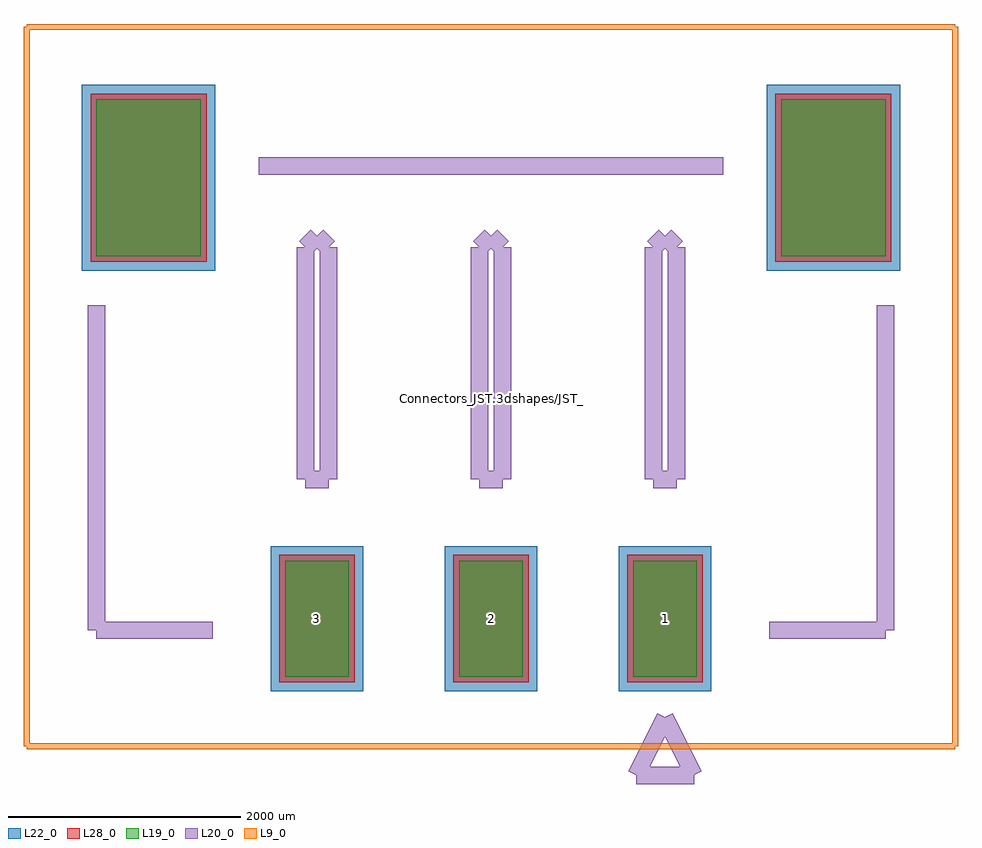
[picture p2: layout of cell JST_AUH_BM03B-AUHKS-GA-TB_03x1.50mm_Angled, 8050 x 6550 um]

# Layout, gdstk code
import gdstk
lib = gdstk.Library(unit=1e-6, precision=1e-09)
def R(c, l, rs):  # rectangles x0, y0, x1, y1
    for r in rs: c.add(gdstk.rectangle(r[:2], r[2:], *l))
def A(c, l, x, y, w, h, nx, ny, dx, dy):  # array of equal rectangles
    R(c, l, [(x+i*dx, y+j*dy, x+i*dx+w, y+j*dy+h) for i in range(nx) for j in range(ny)])
L9_0 = (9, 0)
L19_0 = (19, 0)
L20_0 = (20, 0)
L22_0 = (22, 0)
L28_0 = (28, 0)

jst_auh_bm03b_auhks_ga_t = lib.new_cell('JST_AUH_BM03B-AUHKS-GA-TB_03x1.50mm_Angled')
A(jst_auh_bm03b_auhks_ga_t, L19_0, -1775, -2400, 550, 1000, 3, 1, 1500, 0)
R(jst_auh_bm03b_auhks_ga_t, L19_0, [(-3400,1225,-2500,2575), (2500,1225,3400,2575)])
A(jst_auh_bm03b_auhks_ga_t, L22_0, -1900, -2525, 800, 1250, 3, 1, 1500, 0)
R(jst_auh_bm03b_auhks_ga_t, L22_0, [(-3525,1100,-2375,2700), (2375,1100,3525,2700)])
A(jst_auh_bm03b_auhks_ga_t, L28_0, -1825, -2450, 650, 1100, 3, 1, 1500, 0)
R(jst_auh_bm03b_auhks_ga_t, L28_0, [(-3450,1175,-2450,2625), (2450,1175,3450,2625)])
jst_auh_bm03b_auhks_ga_t.add(gdstk.FlexPath([(1500,1400),(1600,1300)], 149.998, ends="flush", simple_path=True, layer=20, datatype=0))  # L20_0
jst_auh_bm03b_auhks_ga_t.add(gdstk.FlexPath([(1400,1300),(1500,1400)], 149.998, ends="flush", simple_path=True, layer=20, datatype=0))  # L20_0
jst_auh_bm03b_auhks_ga_t.add(gdstk.FlexPath([(1600,-700),(1400,-700)], 149.998, ends="flush", simple_path=True, layer=20, datatype=0))  # L20_0
jst_auh_bm03b_auhks_ga_t.add(gdstk.FlexPath([(1400,-700),(1400,1300)], 149.998, ends="flush", simple_path=True, layer=20, datatype=0))  # L20_0
jst_auh_bm03b_auhks_ga_t.add(gdstk.FlexPath([(1600,1300),(1600,-700)], 149.998, ends="flush", simple_path=True, layer=20, datatype=0))  # L20_0
jst_auh_bm03b_auhks_ga_t.add(gdstk.FlexPath([(0,1400),(100,1300)], 149.998, ends="flush", simple_path=True, layer=20, datatype=0))  # L20_0
jst_auh_bm03b_auhks_ga_t.add(gdstk.FlexPath([(-100,1300),(0,1400)], 149.998, ends="flush", simple_path=True, layer=20, datatype=0))  # L20_0
jst_auh_bm03b_auhks_ga_t.add(gdstk.FlexPath([(100,-700),(-100,-700)], 149.998, ends="flush", simple_path=True, layer=20, datatype=0))  # L20_0
jst_auh_bm03b_auhks_ga_t.add(gdstk.FlexPath([(-100,-700),(-100,1300)], 149.998, ends="flush", simple_path=True, layer=20, datatype=0))  # L20_0
jst_auh_bm03b_auhks_ga_t.add(gdstk.FlexPath([(100,1300),(100,-700)], 149.998, ends="flush", simple_path=True, layer=20, datatype=0))  # L20_0
jst_auh_bm03b_auhks_ga_t.add(gdstk.FlexPath([(-1500,1400),(-1400,1300)], 149.998, ends="flush", simple_path=True, layer=20, datatype=0))  # L20_0
jst_auh_bm03b_auhks_ga_t.add(gdstk.FlexPath([(-1600,1300),(-1500,1400)], 149.998, ends="flush", simple_path=True, layer=20, datatype=0))  # L20_0
jst_auh_bm03b_auhks_ga_t.add(gdstk.FlexPath([(-1400,-700),(-1600,-700)], 149.998, ends="flush", simple_path=True, layer=20, datatype=0))  # L20_0
jst_auh_bm03b_auhks_ga_t.add(gdstk.FlexPath([(-1600,-700),(-1600,1300)], 149.998, ends="flush", simple_path=True, layer=20, datatype=0))  # L20_0
jst_auh_bm03b_auhks_ga_t.add(gdstk.FlexPath([(-1400,1300),(-1400,-700)], 149.998, ends="flush", simple_path=True, layer=20, datatype=0))  # L20_0
jst_auh_bm03b_auhks_ga_t.add(gdstk.FlexPath([(2400,-2000),(3400,-2000)], 149.998, ends="flush", simple_path=True, layer=20, datatype=0))  # L20_0
jst_auh_bm03b_auhks_ga_t.add(gdstk.FlexPath([(3400,-2000),(3400,800)], 149.998, ends="flush", simple_path=True, layer=20, datatype=0))  # L20_0
jst_auh_bm03b_auhks_ga_t.add(gdstk.FlexPath([(-2400,-2000),(-3400,-2000)], 149.998, ends="flush", simple_path=True, layer=20, datatype=0))  # L20_0
jst_auh_bm03b_auhks_ga_t.add(gdstk.FlexPath([(-3400,-2000),(-3400,800)], 149.998, ends="flush", simple_path=True, layer=20, datatype=0))  # L20_0
jst_auh_bm03b_auhks_ga_t.add(gdstk.FlexPath([(2000,2000),(-2000,2000)], 149.998, ends="flush", simple_path=True, layer=20, datatype=0))  # L20_0
jst_auh_bm03b_auhks_ga_t.add(gdstk.FlexPath([(1500,-2750),(1250,-3250)], 149.998, ends="flush", simple_path=True, layer=20, datatype=0))  # L20_0
jst_auh_bm03b_auhks_ga_t.add(gdstk.FlexPath([(1250,-3250),(1750,-3250)], 149.998, ends="flush", simple_path=True, layer=20, datatype=0))  # L20_0
jst_auh_bm03b_auhks_ga_t.add(gdstk.FlexPath([(1750,-3250),(1500,-2750)], 149.998, ends="flush", simple_path=True, layer=20, datatype=0))  # L20_0
jst_auh_bm03b_auhks_ga_t.add(gdstk.FlexPath([(4000,3200),(-4000,3200)], 50, ends="flush", simple_path=True, layer=9, datatype=0))  # L9_0
jst_auh_bm03b_auhks_ga_t.add(gdstk.FlexPath([(-4000,3200),(-4000,-3000)], 50, ends="flush", simple_path=True, layer=9, datatype=0))  # L9_0
jst_auh_bm03b_auhks_ga_t.add(gdstk.FlexPath([(-4000,-3000),(4000,-3000)], 50, ends="flush", simple_path=True, layer=9, datatype=0))  # L9_0
jst_auh_bm03b_auhks_ga_t.add(gdstk.FlexPath([(4000,-3000),(4000,3200)], 50, ends="flush", simple_path=True, layer=9, datatype=0))  # L9_0
jst_auh_bm03b_auhks_ga_t.add(gdstk.Label('Connectors_JST.3dshapes/JST_AUH_BM03B-AUHKS-GA-TB_03x1.50mm_Angled.wrl', (0,0), layer=12, texttype=0))
jst_auh_bm03b_auhks_ga_t.add(gdstk.Label('3', (-1500,-1900), layer=28, texttype=0))
jst_auh_bm03b_auhks_ga_t.add(gdstk.Label('2', (0,-1900), layer=28, texttype=0))
jst_auh_bm03b_auhks_ga_t.add(gdstk.Label('1', (1500,-1900), layer=28, texttype=0))
jst_auh_bm03b_auhks_ga_t.add(gdstk.Label('type', (0,4000), layer=9, texttype=0))
jst_auh_bm03b_auhks_ga_t.add(gdstk.Label('devicename', (0,-4500), layer=9, texttype=0))

lib.write_gds('JST_AUH_BM03B-AUHKS-GA-TB_03x1.50mm_Angled.gds')
